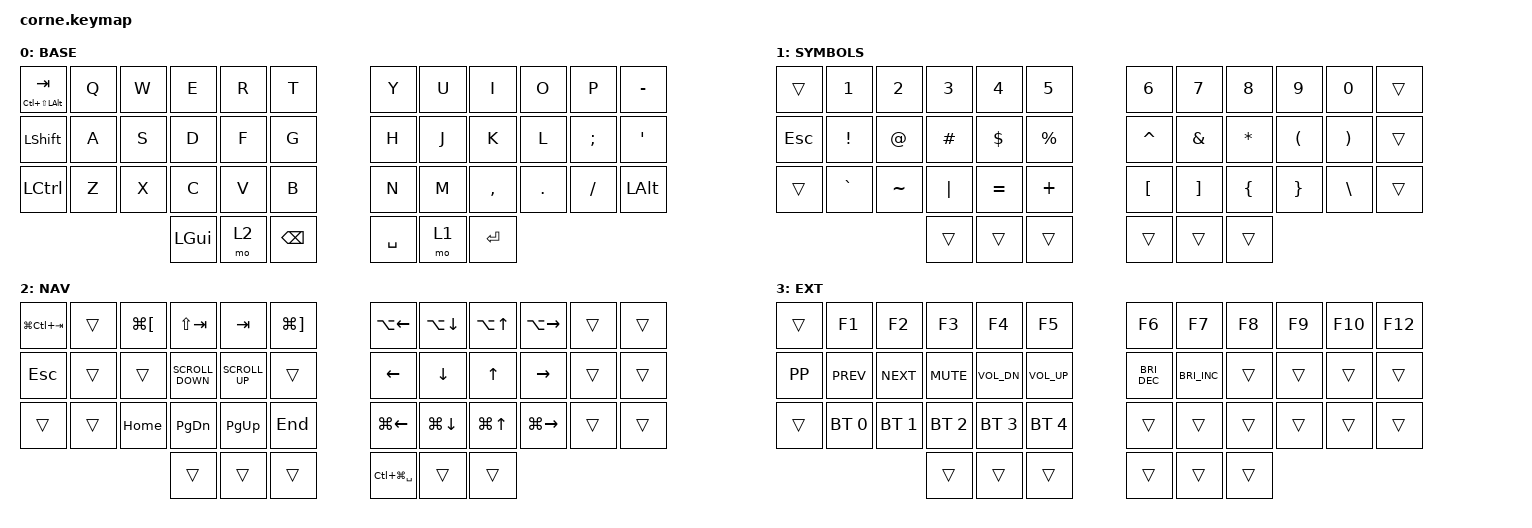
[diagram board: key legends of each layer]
#include <behaviors.dtsi>
#include <dt-bindings/zmk/bt.h>
#include <dt-bindings/zmk/keys.h>
#include <dt-bindings/zmk/rgb.h>
#include <dt-bindings/led/led.h>
&pinctrl {
    spi3_default: spi3_default {
        group1 {
            psels = <NRF_PSEL(SPIM_MOSI, 0, 6)>;
        };
    };
    spi3_sleep: spi3_sleep {
        group1 {
            psels = <NRF_PSEL(SPIM_MOSI, 0, 6)>;
            low-power-enable;
        };
    };
};
&spi3 {
  compatible = "nordic,nrf-spim";
  status = "okay";
  pinctrl-0 = <&spi3_default>;
  pinctrl-1 = <&spi3_sleep>;
  pinctrl-names = "default", "sleep";
  led_strip: ws2812@0 {
    compatible = "worldsemi,ws2812-spi";
    label = "WS2812";
    /* SPI */
    reg = <0>; /* ignored, but necessary for SPI bindings */
    spi-max-frequency = <4000000>;
    /* WS2812 */
    chain-length = <10>; /* number of LEDs */
    spi-one-frame = <0x70>;
    spi-zero-frame = <0x40>;
    color-mapping = <LED_COLOR_ID_GREEN
                          LED_COLOR_ID_RED
                          LED_COLOR_ID_BLUE>;
  };
};

&led_strip {
  // chain-length = <21>;
  chain-length = <27>;
  // 21 backlight + 6 glowlight
};


#define TAPPING_TERM 200

/ {
  behaviors {
    /*
    * td_lock groups locking functions into one key:
    *  - tap once to lock the host
    *  - tap twice to put the host to sleep
    */

    td_lock: tap_dance_lock {
      compatible = "zmk,behavior-tap-dance";
      label = "TAP_DANCE_LOCK";
      #binding-cells = <0>;
      tapping-term-ms = <TAPPING_TERM>;
      bindings = <&kp LG(LC(Q))>, <&kp LG(LA(C_EJECT))>;
    };
  };

  chosen {
      zmk,underglow = &led_strip;
  };

  combos {
    compatible = "zmk,combos";

    Clear_BLE_Profile {
      bindings = <&bt BT_CLR>;
      key-positions = <0 38 5>;
    };

    Space {
      bindings = <&kp SPACE>;
      key-positions = <29 28>;
    };

    Enter {
      bindings = <&kp ENTER>;
      key-positions = <17 16>;
    };

    Capslock {
      bindings = <&kp CLCK>;
      key-positions = <5 6>;
    };
  };

  macros {
    git_status: git_status {
      compatible = "zmk,behavior-macro";
      #binding-cells = <0>;
      bindings = <&kp G &kp I &kp T &kp SPACE &kp S &kp T &kp A &kp T &kp U &kp S>;
      label = "GIT_STATUS";
    };
    git_commit_all: git_commit_all {
      compatible = "zmk,behavior-macro";
      #binding-cells = <0>;
      bindings = <&kp G &kp I &kp T &kp SPACE &kp C &kp O &kp M &kp M &kp I &kp T &kp SPACE &kp MINUS &kp A &kp MINUS &kp M &kp SPACE &kp DQT &kp DQT &kp LEFT_ARROW>;
      label = "GIT_COMMIT";
    };
  };

  keymap {
    compatible = "zmk,keymap";

    base_layer {
      label = "BASE";
      bindings = <
&mt LC(LS(LALT)) TAB  &kp Q  &kp W  &kp E         &kp R           &kp T       &kp Y      &kp U           &kp I      &kp O    &kp P      &kp MINUS
&kp LSHIFT            &kp A  &kp S  &kp D         &kp F           &kp G       &kp H      &kp J           &kp K      &kp L    &kp SEMI   &kp SINGLE_QUOTE
&kp LEFT_CONTROL      &kp Z  &kp X  &kp C         &kp V           &kp B       &kp N      &kp M           &kp COMMA  &kp DOT  &kp SLASH  &kp LEFT_ALT
                                    &kp LEFT_GUI  &mo 2  &kp BSPC    &kp SPACE  &mo 1  &kp ENTER
      >;
    };

    symbols_layer {
      label = "SYMBOLS";
      bindings = <
&trans   &kp N1    &kp N2  &kp N3    &kp N4    &kp N5     &kp N6    &kp N7  &kp N8    &kp N9    &kp N0  &trans
&kp ESC  &kp EXCL  &kp AT  &kp HASH  &kp DLLR  &kp PRCNT    &kp CARET  &kp AMPS   &kp ASTERISK  &kp LPAR          &kp RPAR           &trans
&trans         &kp GRAVE  &kp TILDE   &kp PIPE    &kp EQUAL  &kp PLUS        &kp LEFT_BRACKET  &kp RIGHT_BRACKET        &kp LEFT_BRACE    &kp RIGHT_BRACE    &kp BACKSLASH &trans
                           &trans    &trans    &trans       &trans     &trans     &trans
      >;
    };

    nav_layer {
      label = "NAV";
      bindings = <
&kp LG(LC(TAB))          &trans  &kp LG(LEFT_BRACKET)  &kp LS(TAB)        &kp TAB          &kp LG(RIGHT_BRACKET)    &kp LA(LEFT)       &kp LA(DOWN)  &kp LA(UP)  &kp LA(RIGHT)  &trans  &trans
&kp ESC           &trans  &trans                &kp K_SCROLL_DOWN  &kp K_SCROLL_UP  &trans                   &kp LEFT           &kp DOWN      &kp UP      &kp RIGHT      &trans  &trans
&trans  &trans  &kp HOME              &kp PG_DN          &kp PG_UP        &kp END                  &kp LG(LEFT)       &kp LG(DOWN)  &kp LG(UP)  &kp LG(RIGHT)  &trans  &trans
                                               &trans             &trans           &trans                   &kp LC(LG(SPACE))  &trans        &trans
      >;
    };

    extended_layer {
      label = "EXT";
      bindings = <
&trans  &kp F1        &kp F2        &kp F3        &kp F4        &kp F5          &kp F6           &kp F7           &kp F8           &kp F9                &kp F10               &kp F12
&kp K_PP  &kp K_PREV        &kp K_NEXT     &kp K_MUTE    &kp C_VOL_DN  &kp C_VOL_UP     &kp C_BRIGHTNESS_DEC  &kp C_BRIGHTNESS_INC  &trans &trans &trans           &trans
&trans  &bt BT_SEL 0  &bt BT_SEL 1  &bt BT_SEL 2  &bt BT_SEL 3  &bt BT_SEL 4     &trans        &trans          &trans           &trans           &trans  &trans    
                                    &trans        &trans        &trans          &trans           &trans           &trans
      >;
    };
  };

  conditional_layers {
    compatible = "zmk,conditional-layers";

    Activate_EXT {
      if-layers = <1 2>;
      then-layer = <3>;
    };
  };
};
